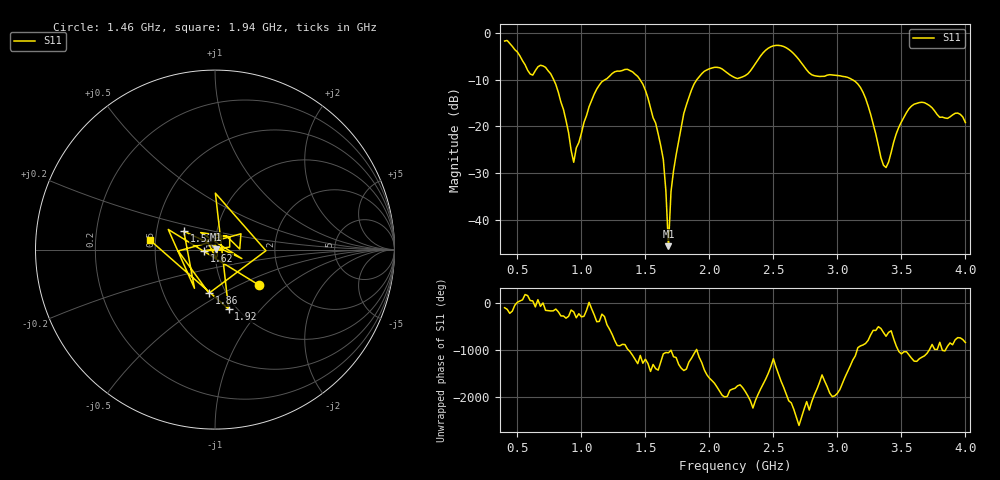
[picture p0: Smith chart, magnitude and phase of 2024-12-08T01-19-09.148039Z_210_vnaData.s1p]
!Created with skrf (http://scikit-rf.org).
# Hz S RI R 50.0
!freq ReS11 ImS11
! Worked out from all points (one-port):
!   181 points, 400 MHz to 4 GHz, reference 50 ohm
!   lowest |S11| = -45.6 dB at 1.68 GHz (marker M1), VSWR 1.01, Z = 50.5 + j0.159 ohm
!   |S11| at or under -10 dB: 783.4 MHz to 1.185 GHz (401.1 MHz wide, 40.8 % of centre); 1.458 GHz to 1.901 GHz (443.1 MHz wide, 26.4 % of centre); 3.118 GHz to end of sweep
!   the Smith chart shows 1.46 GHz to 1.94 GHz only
!   S11 on the Smith chart (normalised r, x): 1.46 GHz: 1.48, -0.65; 1.52 GHz: 0.69, +0.15; 1.62 GHz: 0.88, -0.01; 1.86 GHz: 0.83, -0.43; 1.92 GHz: 0.92, -0.69; 1.94 GHz: 0.47, +0.06
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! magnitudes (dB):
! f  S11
! 400 MHz  -1.7
! 600 MHz  -8.8
! 720 MHz  -7.3
! 860 MHz  -16.4
! 940 MHz  -27.7
! 1.12 GHz  -12.0
! 1.3 GHz  -8.2
! 1.46 GHz  -10.1
! 1.52 GHz  -13.9
! 1.62 GHz  -24.1
! 1.64 GHz  -27.1
! 1.66 GHz  -33.8
! 1.68 GHz  -45.6
! 1.7 GHz  -33.9
! 1.76 GHz  -23.1
! 1.86 GHz  -12.2
! 1.92 GHz  -9.4
! 1.94 GHz  -8.7
! 2.2 GHz  -9.6
! 2.48 GHz  -2.9
! 2.66 GHz  -4.5
! 2.8 GHz  -8.9
! 3.1 GHz  -9.7
! 3.22 GHz  -14.0
! 3.38 GHz  -28.8
! 3.56 GHz  -16.2
! 3.68 GHz  -14.9
! 4 GHz  -19.2
